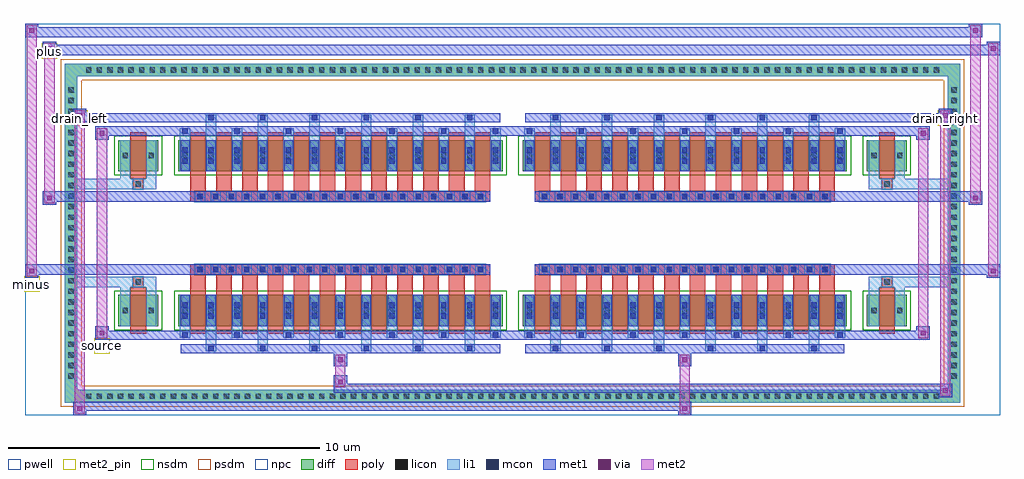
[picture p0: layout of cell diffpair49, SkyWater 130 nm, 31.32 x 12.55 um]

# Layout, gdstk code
import gdstk
lib = gdstk.Library(unit=1e-6, precision=5e-09)
def R(c, l, rs):  # rectangles x0, y0, x1, y1
    for r in rs: c.add(gdstk.rectangle(r[:2], r[2:], *l))
def A(c, l, x, y, w, h, nx, ny, dx, dy):  # array of equal rectangles
    R(c, l, [(x+i*dx, y+j*dy, x+i*dx+w, y+j*dy+h) for i in range(nx) for j in range(ny)])
def P(c, l, *ps):  # polygons
    for p in ps: c.add(gdstk.Polygon(p, *l))
pwell = (64, 44)
diff = (65, 20)
poly = (66, 20)
licon = (66, 44)
li1 = (67, 20)
mcon = (67, 44)
met1 = (68, 20)
via = (68, 44)
met2_pin = (69, 16)
met2 = (69, 20)
nsdm = (93, 44)
psdm = (94, 20)
npc = (95, 20)

diffpair49 = lib.new_cell('diffpair49')
R(diffpair49, pwell, [(-15.64,-5.84,15.64,6.71), (-12.96,-4.03,-0.01,-0.805), (0.01,-4.03,12.96,-0.805), (-12.96,0.805,-0.01,4.03), (0.01,0.805,12.96,4.03)])
A(diffpair49, diff, -13.805, -5.44, 0.41, 0.41, 81, 2, 0.34, 10.47)
A(diffpair49, diff, -14.37, -4.795, 0.41, 0.41, 1, 28, 0, 0.34)
A(diffpair49, diff, 13.96, -4.795, 0.41, 0.41, 1, 28, 0, 0.34)
R(diffpair49, diff, [(-13.805,-5.44,13.805,-5.03), (-14.37,-4.795,-13.96,4.795), (13.96,-4.795,14.37,4.795), (-12.65,-2.985,-11.37,-1.985), (-10.73,-2.985,-0.32,-1.985), (0.32,-2.985,10.73,-1.985), (11.37,-2.985,12.65,-1.985), (-12.65,1.985,-11.37,2.985), (-10.73,1.985,-0.32,2.985), (0.32,1.985,10.73,2.985), (11.37,1.985,12.65,2.985), (-13.805,5.03,13.805,5.44)])
P(diffpair49, diff, [(14.37,5.44),(-14.37,5.44),(-14.37,-5.03),(-13.96,-5.03),(-13.96,5.03),(13.96,5.03),(13.96,-5.03),(-13.96,-5.03),(-14.37,-5.03),(-14.37,-5.44),(14.37,-5.44)])
A(diffpair49, poly, -10.34, -3.235, 0.5, 1.5, 12, 2, 0.83, 4.97)
A(diffpair49, poly, 0.71, -3.235, 0.5, 1.5, 12, 2, 0.83, 4.97)
A(diffpair49, poly, -10.34, -1.735, 0.5, 0.4, 12, 2, 0.83, 3.07)
A(diffpair49, poly, 0.71, -1.735, 0.5, 0.4, 12, 2, 0.83, 3.07)
A(diffpair49, poly, -10.19, -1.335, 0.33, 0.33, 19, 2, 0.5, 2.34)
A(diffpair49, poly, 0.86, -1.335, 0.33, 0.33, 19, 2, 0.5, 2.34)
R(diffpair49, poly, [(-12.26,-3.235,-11.76,-1.735), (11.76,-3.235,12.26,-1.735), (-12.175,-1.735,-11.845,-1.405), (-12.175,-1.735,-11.845,-1.405), (11.845,-1.735,12.175,-1.405), (11.845,-1.735,12.175,-1.405), (-10.34,-1.335,-0.71,-1.005), (0.71,-1.335,10.34,-1.005), (-10.34,1.005,-0.71,1.335), (0.71,1.005,10.34,1.335), (-12.175,1.405,-11.845,1.735), (-12.175,1.405,-11.845,1.735), (11.845,1.405,12.175,1.735), (11.845,1.405,12.175,1.735), (-12.26,1.735,-11.76,3.235), (11.76,1.735,12.26,3.235)])
A(diffpair49, licon, -13.685, -5.32, 0.17, 0.17, 81, 2, 0.34, 10.47)
A(diffpair49, licon, -14.25, -4.675, 0.17, 0.17, 1, 28, 0, 0.34)
A(diffpair49, licon, 14.08, -4.675, 0.17, 0.17, 1, 28, 0, 0.34)
A(diffpair49, licon, -10.59, -2.57, 0.17, 0.17, 13, 2, 0.83, 4.97)
A(diffpair49, licon, 0.46, -2.57, 0.17, 0.17, 13, 2, 0.83, 4.97)
A(diffpair49, licon, -10.11, -1.255, 0.17, 0.17, 19, 2, 0.5, 2.34)
A(diffpair49, licon, 0.94, -1.255, 0.17, 0.17, 19, 2, 0.5, 2.34)
R(diffpair49, licon, [(-12.51,-2.57,-12.34,-2.4), (-11.68,-2.57,-11.51,-2.4), (11.51,-2.57,11.68,-2.4), (12.34,-2.57,12.51,-2.4), (-12.095,-1.655,-11.925,-1.485), (11.925,-1.655,12.095,-1.485), (-12.095,1.485,-11.925,1.655), (11.925,1.485,12.095,1.655), (-12.51,2.4,-12.34,2.57), (-11.68,2.4,-11.51,2.57), (11.51,2.4,11.68,2.57), (12.34,2.4,12.51,2.57)])
A(diffpair49, li1, -13.765, -5.4, 0.33, 0.33, 81, 2, 0.34, 10.47)
A(diffpair49, li1, -14.33, -4.755, 0.33, 0.33, 1, 28, 0, 0.34)
A(diffpair49, li1, 14, -4.755, 0.33, 0.33, 1, 28, 0, 0.34)
A(diffpair49, li1, -9.84, -3.79, 0.33, 0.805, 6, 2, 1.66, 6.775)
A(diffpair49, li1, -9.76, -3.79, 0.17, 0.17, 6, 2, 1.66, 7.41)
A(diffpair49, li1, 1.21, -3.79, 0.33, 0.805, 6, 2, 1.66, 6.775)
A(diffpair49, li1, 1.29, -3.79, 0.17, 0.17, 6, 2, 1.66, 7.41)
A(diffpair49, li1, -10.67, -3.36, 0.33, 0.375, 7, 2, 1.66, 6.345)
A(diffpair49, li1, -10.59, -3.36, 0.17, 0.17, 7, 2, 1.66, 6.55)
A(diffpair49, li1, 0.38, -3.36, 0.33, 0.375, 7, 2, 1.66, 6.345)
A(diffpair49, li1, 0.46, -3.36, 0.17, 0.17, 7, 2, 1.66, 6.55)
A(diffpair49, li1, -10.67, -2.985, 0.33, 1, 13, 2, 0.83, 4.97)
A(diffpair49, li1, 0.38, -2.985, 0.33, 1, 13, 2, 0.83, 4.97)
A(diffpair49, li1, -10.59, -2.75, 0.17, 0.17, 13, 2, 0.83, 0.36)
A(diffpair49, li1, -10.59, -2.75, 0.17, 0.53, 13, 2, 0.83, 4.97)
A(diffpair49, li1, 0.46, -2.75, 0.17, 0.17, 13, 2, 0.83, 0.36)
A(diffpair49, li1, 0.46, -2.75, 0.17, 0.53, 13, 2, 0.83, 4.97)
A(diffpair49, li1, -10.67, -2.65, 0.33, 0.33, 13, 2, 0.83, 4.97)
A(diffpair49, li1, 0.38, -2.65, 0.33, 0.33, 13, 2, 0.83, 4.97)
A(diffpair49, li1, -10.19, -1.335, 0.33, 0.33, 19, 2, 0.5, 2.34)
A(diffpair49, li1, 0.86, -1.335, 0.33, 0.33, 19, 2, 0.5, 2.34)
A(diffpair49, li1, -10.59, 2.22, 0.17, 0.17, 13, 2, 0.83, 0.36)
A(diffpair49, li1, 0.46, 2.22, 0.17, 0.17, 13, 2, 0.83, 0.36)
R(diffpair49, li1, [(-14.37,-5.44,-13.96,-5.03), (-14.37,-5.44,-13.96,-5.03), (-13.96,-5.44,13.96,-5.03), (13.96,-5.44,14.37,-5.03), (13.96,-5.44,14.37,-5.03), (-14.37,-5.03,-13.96,5.03), (13.96,-5.03,14.37,5.03), (-12.59,-2.985,-12.26,-1.985), (-11.76,-2.985,-11.43,-1.985), (11.43,-2.985,11.76,-1.985), (12.26,-2.985,12.59,-1.985), (-12.59,-2.65,-12.26,-2.32), (-11.76,-2.65,-11.43,-2.32), (11.43,-2.65,11.76,-2.32), (12.26,-2.65,12.59,-2.32), (-12.59,-1.985,-12.26,-1.405), (-11.76,-1.985,-11.43,-1.405), (11.43,-1.985,11.76,-1.405), (12.26,-1.985,12.59,-1.405), (-14.37,-1.735,-12.175,-1.405), (-12.59,-1.735,-12.175,-1.405), (-12.175,-1.735,-11.845,-1.405), (-11.845,-1.735,-11.43,-1.405), (11.43,-1.735,11.845,-1.405), (11.845,-1.735,12.175,-1.405), (11.845,-1.735,14.37,-1.405), (12.175,-1.735,12.59,-1.405), (-14.37,1.405,-12.175,1.735), (-12.59,1.405,-12.175,1.735), (-12.59,1.405,-12.26,1.985), (-12.175,1.405,-11.845,1.735), (-11.845,1.405,-11.43,1.735), (-11.76,1.405,-11.43,1.985), (11.43,1.405,11.845,1.735), (11.43,1.405,11.76,1.985), (11.845,1.405,12.175,1.735), (11.845,1.405,14.37,1.735), (12.175,1.405,12.59,1.735), (12.26,1.405,12.59,1.985), (-12.59,1.985,-12.26,2.985), (-11.76,1.985,-11.43,2.985), (11.43,1.985,11.76,2.985), (12.26,1.985,12.59,2.985), (-12.59,2.32,-12.26,2.65), (-11.76,2.32,-11.43,2.65), (11.43,2.32,11.76,2.65), (12.26,2.32,12.59,2.65), (-14.37,5.03,-13.96,5.44), (-14.37,5.03,-13.96,5.44), (-13.96,5.03,13.96,5.44), (13.96,5.03,14.37,5.44), (13.96,5.03,14.37,5.44)])
A(diffpair49, mcon, -9.76, -3.79, 0.17, 0.17, 6, 2, 1.66, 7.41)
A(diffpair49, mcon, 1.29, -3.79, 0.17, 0.17, 6, 2, 1.66, 7.41)
A(diffpair49, mcon, -10.59, -3.36, 0.17, 0.17, 7, 2, 1.66, 6.55)
A(diffpair49, mcon, 0.46, -3.36, 0.17, 0.17, 7, 2, 1.66, 6.55)
A(diffpair49, mcon, -10.59, -2.75, 0.17, 0.17, 13, 2, 0.83, 0.36)
A(diffpair49, mcon, 0.46, -2.75, 0.17, 0.17, 13, 2, 0.83, 0.36)
A(diffpair49, mcon, -10.11, -1.255, 0.17, 0.17, 19, 2, 0.5, 2.34)
A(diffpair49, mcon, 0.94, -1.255, 0.17, 0.17, 19, 2, 0.5, 2.34)
A(diffpair49, mcon, -10.59, 2.22, 0.17, 0.17, 13, 2, 0.83, 0.36)
A(diffpair49, mcon, 0.46, 2.22, 0.17, 0.17, 13, 2, 0.83, 0.36)
A(diffpair49, met1, -9.82, -3.85, 0.29, 0.29, 6, 2, 1.66, 7.41)
A(diffpair49, met1, 1.23, -3.85, 0.29, 0.29, 6, 2, 1.66, 7.41)
A(diffpair49, met1, -10.65, -3.42, 0.29, 0.29, 7, 2, 1.66, 6.55)
A(diffpair49, met1, 0.4, -3.42, 0.29, 0.29, 7, 2, 1.66, 6.55)
A(diffpair49, met1, -10.65, -2.985, 0.29, 1, 13, 2, 0.83, 4.97)
A(diffpair49, met1, 0.4, -2.985, 0.29, 1, 13, 2, 0.83, 4.97)
A(diffpair49, met1, -10.65, -2.81, 0.29, 0.29, 13, 2, 0.83, 0.36)
A(diffpair49, met1, 0.4, -2.81, 0.29, 0.29, 13, 2, 0.83, 0.36)
A(diffpair49, met1, -10.17, -1.315, 0.29, 0.29, 19, 2, 0.5, 2.34)
A(diffpair49, met1, 0.88, -1.315, 0.29, 0.29, 19, 2, 0.5, 2.34)
A(diffpair49, met1, -10.65, 2.16, 0.29, 0.29, 13, 2, 0.83, 0.36)
A(diffpair49, met1, 0.4, 2.16, 0.29, 0.29, 13, 2, 0.83, 0.36)
R(diffpair49, met1, [(-14.1,-5.84,-13.67,-5.41), (5.31,-5.84,5.74,-5.41), (-14.1,-5.7,5.74,-5.41), (13.67,-5.27,14.1,-4.84), (-5.74,-5.13,14.1,-4.84), (-5.74,-4.99,-5.31,-4.56), (-5.74,-4.28,-5.31,-3.85), (5.31,-4.28,5.74,-3.85), (-10.65,-3.85,-0.4,-3.56), (0.4,-3.85,10.65,-3.56), (-13.39,-3.42,-12.96,-2.99), (-13.39,-3.42,-10.65,-3.13), (-10.65,-3.42,-0.4,-3.13), (-0.4,-3.42,0.4,-3.13), (0.4,-3.42,10.65,-3.13), (10.65,-3.42,13.39,-3.13), (12.96,-3.42,13.39,-2.99), (-15.64,-1.435,-15.21,-1.005), (15.21,-1.435,15.64,-1.005), (-15.64,-1.335,-0.71,-1.005), (-10.34,-1.335,-0.71,-1.005), (0.71,-1.335,10.34,-1.005), (0.71,-1.335,15.64,-1.005), (-15.07,0.905,-14.64,1.335), (14.64,0.905,15.07,1.335), (-15.07,1.005,-10.34,1.335), (-10.34,1.005,-0.71,1.335), (0.71,1.005,10.34,1.335), (10.34,1.005,15.07,1.335), (-13.39,2.99,-12.96,3.42), (12.96,2.99,13.39,3.42), (-13.39,3.13,-10.65,3.42), (-10.65,3.13,-0.4,3.42), (-0.4,3.13,0.4,3.42), (0.4,3.13,10.65,3.42), (10.65,3.13,13.39,3.42), (-14.1,3.56,-13.67,3.99), (-14.1,3.56,-10.65,3.85), (-10.65,3.56,-0.4,3.85), (0.4,3.56,10.65,3.85), (10.65,3.56,14.1,3.85), (13.67,3.56,14.1,3.99), (-15.07,5.71,-14.64,6.14), (-15.07,5.71,-12.96,6.04), (-12.96,5.71,12.96,6.04), (12.96,5.71,15.64,6.04), (15.21,5.71,15.64,6.14), (-15.64,6.28,-15.21,6.71), (-15.64,6.28,-12.96,6.61), (-12.96,6.28,12.96,6.61), (12.96,6.28,15.07,6.61), (14.64,6.28,15.07,6.71)])
R(diffpair49, via, [(-13.96,-5.7,-13.81,-5.55), (5.45,-5.7,5.6,-5.55), (13.81,-5.13,13.96,-4.98), (-5.6,-4.85,-5.45,-4.7), (-5.6,-4.14,-5.45,-3.99), (5.45,-4.14,5.6,-3.99), (-13.25,-3.28,-13.1,-3.13), (13.1,-3.28,13.25,-3.13), (-15.5,-1.295,-15.35,-1.145), (15.35,-1.295,15.5,-1.145), (-14.93,1.045,-14.78,1.195), (14.78,1.045,14.93,1.195), (-13.25,3.13,-13.1,3.28), (13.1,3.13,13.25,3.28), (-13.96,3.7,-13.81,3.85), (13.81,3.7,13.96,3.85), (-14.93,5.85,-14.78,6), (15.35,5.85,15.5,6), (-15.5,6.42,-15.35,6.57), (14.78,6.42,14.93,6.57)])
R(diffpair49, met2_pin, [(-13.425,-3.87,-12.925,-3.37), (-15.675,-1.885,-15.175,-1.385), (-14.135,3.44,-13.635,3.94), (13.635,3.44,14.135,3.94), (-15.105,5.59,-14.605,6.09)])
R(diffpair49, met2, [(-14.05,-5.79,-13.72,-5.46), (-14.05,-5.79,-13.72,3.94), (5.36,-5.79,5.69,-5.46), (5.36,-5.46,5.69,-4.23), (13.72,-5.22,14.05,-4.89), (13.72,-5.22,14.05,3.94), (-5.69,-4.94,-5.36,-4.61), (-5.69,-4.61,-5.36,-4.23), (-5.69,-4.23,-5.36,-3.9), (5.36,-4.23,5.69,-3.9), (-13.34,-3.37,-13.01,-3.04), (-13.34,-3.37,-13.01,3.37), (13.01,-3.37,13.34,-3.04), (13.01,-3.37,13.34,3.37), (-15.59,-1.385,-15.26,-1.055), (-15.59,-1.385,-15.26,6.66), (15.26,-1.385,15.59,-1.055), (15.26,-1.385,15.59,6.09), (-15.02,0.955,-14.69,1.285), (-15.02,0.955,-14.69,6.09), (14.69,0.955,15.02,1.285), (14.69,0.955,15.02,6.66), (-13.34,3.04,-13.01,3.37), (13.01,3.04,13.34,3.37), (-14.05,3.61,-13.72,3.94), (13.72,3.61,14.05,3.94), (-15.02,5.76,-14.69,6.09), (15.26,5.76,15.59,6.09), (-15.59,6.33,-15.26,6.66), (14.69,6.33,15.02,6.66)])
P(diffpair49, met2, [(15.59,-1.385),(15.59,-1.385),(15.59,-1.055),(15.59,-1.055)],
  [(15.59,5.76),(15.59,5.76),(15.59,6.09),(15.59,6.09)],
  [(-15.26,-1.385),(-15.26,-1.385),(-15.26,-1.055),(-15.26,-1.055)],
  [(-15.26,6.33),(-15.26,6.33),(-15.26,6.66),(-15.26,6.66)],
  [(15.02,0.955),(15.02,0.955),(15.02,1.285),(15.02,1.285)],
  [(15.02,6.33),(15.02,6.33),(15.02,6.66),(15.02,6.66)],
  [(-14.69,0.955),(-14.69,0.955),(-14.69,1.285),(-14.69,1.285)],
  [(-14.69,5.76),(-14.69,5.76),(-14.69,6.09),(-14.69,6.09)],
  [(-13.72,-5.79),(-13.72,-5.79),(-13.72,-5.46),(-13.72,-5.46)],
  [(-13.72,3.61),(-13.72,3.61),(-13.72,3.94),(-13.72,3.94)],
  [(14.05,-5.22),(14.05,-5.22),(14.05,-4.89),(14.05,-4.89)],
  [(14.05,3.61),(14.05,3.61),(14.05,3.94),(14.05,3.94)],
  [(-13.01,-3.37),(-13.01,-3.37),(-13.01,-3.04),(-13.01,-3.04)],
  [(-13.01,3.04),(-13.01,3.04),(-13.01,3.37),(-13.01,3.37)],
  [(13.34,-3.37),(13.34,-3.37),(13.34,-3.04),(13.34,-3.04)],
  [(13.34,3.04),(13.34,3.04),(13.34,3.37),(13.34,3.37)])
R(diffpair49, nsdm, [(-12.78,-3.115,-11.24,-1.855), (-10.86,-3.115,-0.19,-1.855), (0.19,-3.115,10.86,-1.855), (11.24,-3.115,12.78,-1.855), (-12.78,1.855,-11.24,3.115), (-10.86,1.855,-0.19,3.115), (0.19,1.855,10.86,3.115), (11.24,1.855,12.78,3.115)])
P(diffpair49, psdm, [(14.5,5.57),(-14.5,5.57),(-14.5,-4.9),(-13.83,-4.9),(-13.83,4.9),(13.83,4.9),(13.83,-4.9),(-13.83,-4.9),(-14.5,-4.9),(-14.5,-5.57),(14.5,-5.57)])
A(diffpair49, npc, -10.21, -1.355, 0.37, 0.37, 19, 2, 0.5, 2.34)
A(diffpair49, npc, 0.84, -1.355, 0.37, 0.37, 19, 2, 0.5, 2.34)
R(diffpair49, npc, [(-12.195,-1.755,-11.825,-1.385), (11.825,-1.755,12.195,-1.385), (-10.21,-1.355,-9.34,-0.985), (-10.21,-1.355,-9.34,-0.985), (-9.71,-1.355,-8.84,-0.985), (-9.71,-1.355,-8.84,-0.985), (-9.21,-1.355,-8.34,-0.985), (-9.21,-1.355,-8.34,-0.985), (-8.71,-1.355,-7.84,-0.985), (-8.71,-1.355,-7.84,-0.985), (-8.21,-1.355,-7.34,-0.985), (-8.21,-1.355,-7.34,-0.985), (-7.71,-1.355,-6.84,-0.985), (-7.71,-1.355,-6.84,-0.985), (-7.21,-1.355,-6.34,-0.985), (-7.21,-1.355,-6.34,-0.985), (-6.71,-1.355,-5.84,-0.985), (-6.71,-1.355,-5.84,-0.985), (-6.21,-1.355,-5.34,-0.985), (-6.21,-1.355,-5.34,-0.985), (-5.71,-1.355,-4.84,-0.985), (-5.71,-1.355,-4.84,-0.985), (-5.21,-1.355,-4.34,-0.985), (-5.21,-1.355,-4.34,-0.985), (-4.71,-1.355,-3.84,-0.985), (-4.71,-1.355,-3.84,-0.985), (-4.21,-1.355,-3.34,-0.985), (-4.21,-1.355,-3.34,-0.985), (-3.71,-1.355,-2.84,-0.985), (-3.71,-1.355,-2.84,-0.985), (-3.21,-1.355,-2.34,-0.985), (-3.21,-1.355,-2.34,-0.985), (-2.71,-1.355,-1.84,-0.985), (-2.71,-1.355,-1.84,-0.985), (-2.21,-1.355,-1.34,-0.985), (-2.21,-1.355,-1.34,-0.985), (-1.71,-1.355,-0.84,-0.985), (-1.71,-1.355,-0.84,-0.985), (0.84,-1.355,1.71,-0.985), (0.84,-1.355,1.71,-0.985), (1.34,-1.355,2.21,-0.985), (1.34,-1.355,2.21,-0.985), (1.84,-1.355,2.71,-0.985), (1.84,-1.355,2.71,-0.985), (2.34,-1.355,3.21,-0.985), (2.34,-1.355,3.21,-0.985), (2.84,-1.355,3.71,-0.985), (2.84,-1.355,3.71,-0.985), (3.34,-1.355,4.21,-0.985), (3.34,-1.355,4.21,-0.985), (3.84,-1.355,4.71,-0.985), (3.84,-1.355,4.71,-0.985), (4.34,-1.355,5.21,-0.985), (4.34,-1.355,5.21,-0.985), (4.84,-1.355,5.71,-0.985), (4.84,-1.355,5.71,-0.985), (5.34,-1.355,6.21,-0.985), (5.34,-1.355,6.21,-0.985), (5.84,-1.355,6.71,-0.985), (5.84,-1.355,6.71,-0.985), (6.34,-1.355,7.21,-0.985), (6.34,-1.355,7.21,-0.985), (6.84,-1.355,7.71,-0.985), (6.84,-1.355,7.71,-0.985), (7.34,-1.355,8.21,-0.985), (7.34,-1.355,8.21,-0.985), (7.84,-1.355,8.71,-0.985), (7.84,-1.355,8.71,-0.985), (8.34,-1.355,9.21,-0.985), (8.34,-1.355,9.21,-0.985), (8.84,-1.355,9.71,-0.985), (8.84,-1.355,9.71,-0.985), (9.34,-1.355,10.21,-0.985), (9.34,-1.355,10.21,-0.985), (-10.21,0.985,-9.34,1.355), (-10.21,0.985,-9.34,1.355), (-9.71,0.985,-8.84,1.355), (-9.71,0.985,-8.84,1.355), (-9.21,0.985,-8.34,1.355), (-9.21,0.985,-8.34,1.355), (-8.71,0.985,-7.84,1.355), (-8.71,0.985,-7.84,1.355), (-8.21,0.985,-7.34,1.355), (-8.21,0.985,-7.34,1.355), (-7.71,0.985,-6.84,1.355), (-7.71,0.985,-6.84,1.355), (-7.21,0.985,-6.34,1.355), (-7.21,0.985,-6.34,1.355), (-6.71,0.985,-5.84,1.355), (-6.71,0.985,-5.84,1.355), (-6.21,0.985,-5.34,1.355), (-6.21,0.985,-5.34,1.355), (-5.71,0.985,-4.84,1.355), (-5.71,0.985,-4.84,1.355), (-5.21,0.985,-4.34,1.355), (-5.21,0.985,-4.34,1.355), (-4.71,0.985,-3.84,1.355), (-4.71,0.985,-3.84,1.355), (-4.21,0.985,-3.34,1.355), (-4.21,0.985,-3.34,1.355), (-3.71,0.985,-2.84,1.355), (-3.71,0.985,-2.84,1.355), (-3.21,0.985,-2.34,1.355), (-3.21,0.985,-2.34,1.355), (-2.71,0.985,-1.84,1.355), (-2.71,0.985,-1.84,1.355), (-2.21,0.985,-1.34,1.355), (-2.21,0.985,-1.34,1.355), (-1.71,0.985,-0.84,1.355), (-1.71,0.985,-0.84,1.355), (0.84,0.985,1.71,1.355), (0.84,0.985,1.71,1.355), (1.34,0.985,2.21,1.355), (1.34,0.985,2.21,1.355), (1.84,0.985,2.71,1.355), (1.84,0.985,2.71,1.355), (2.34,0.985,3.21,1.355), (2.34,0.985,3.21,1.355), (2.84,0.985,3.71,1.355), (2.84,0.985,3.71,1.355), (3.34,0.985,4.21,1.355), (3.34,0.985,4.21,1.355), (3.84,0.985,4.71,1.355), (3.84,0.985,4.71,1.355), (4.34,0.985,5.21,1.355), (4.34,0.985,5.21,1.355), (4.84,0.985,5.71,1.355), (4.84,0.985,5.71,1.355), (5.34,0.985,6.21,1.355), (5.34,0.985,6.21,1.355), (5.84,0.985,6.71,1.355), (5.84,0.985,6.71,1.355), (6.34,0.985,7.21,1.355), (6.34,0.985,7.21,1.355), (6.84,0.985,7.71,1.355), (6.84,0.985,7.71,1.355), (7.34,0.985,8.21,1.355), (7.34,0.985,8.21,1.355), (7.84,0.985,8.71,1.355), (7.84,0.985,8.71,1.355), (8.34,0.985,9.21,1.355), (8.34,0.985,9.21,1.355), (8.84,0.985,9.71,1.355), (8.84,0.985,9.71,1.355), (9.34,0.985,10.21,1.355), (9.34,0.985,10.21,1.355), (-12.195,1.385,-11.825,1.755), (11.825,1.385,12.195,1.755)])
diffpair49.add(gdstk.Label('minus', (-15.425,-1.635), layer=69, texttype=5))
diffpair49.add(gdstk.Label('drain_right', (13.885,3.69), layer=69, texttype=5))
diffpair49.add(gdstk.Label('drain_left', (-13.885,3.69), layer=69, texttype=5))
diffpair49.add(gdstk.Label('source', (-13.175,-3.62), layer=69, texttype=5))
diffpair49.add(gdstk.Label('plus', (-14.855,5.84), layer=69, texttype=5))

lib.write_gds('diffpair49.gds')
